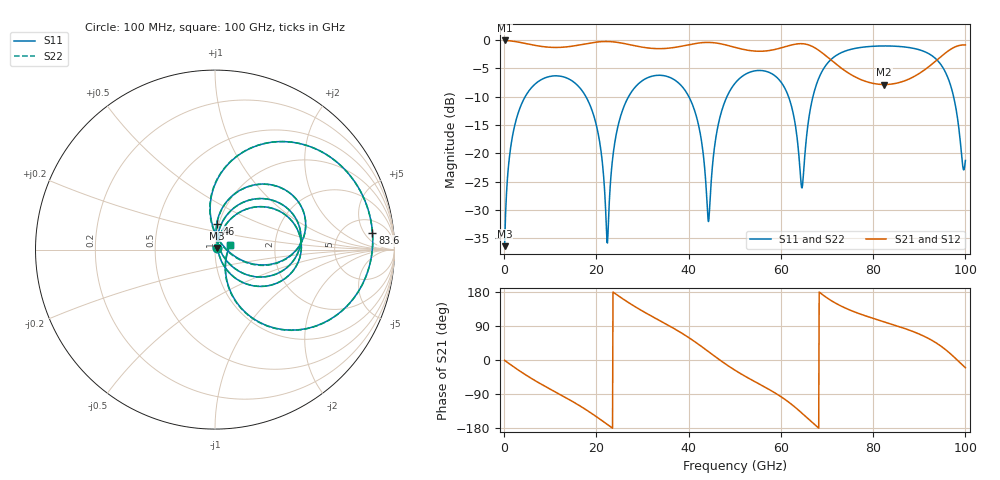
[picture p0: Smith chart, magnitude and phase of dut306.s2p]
! Touchstone file exported from HFSS 2026.1.0
!  File:  C:/ffzhzh/LocalFiles/Ansys_Project_Files/temp_train_TSV_RDL_306_1783697755_45496.aedt
!  Generated:  11:45:09 PM Jul 10, 2026
!  Design:  TSV_RDL
!  Project:  temp_train_TSV_RDL_306_1783697755_45496
! Variables:
!  h_bsmrdl = 4.72um
!  h_ox = 20um
!  h_rdl = 5um
!  h_sub = 87.99um
!  h_tmrdl = 2.42um
!  h_tsv = 87.99um
!  h_via = 3um
!  l_bsmrdl = 195.83um
!  l_sub = 2378.04um
!  l_tmrdl = 312.26um
!  m_sub = 200um
!  pitch = 50.75um
!  r_tsv = 8.35um
!  s_tmrdl = 10um
!  w_bsmrdl = 26.61um
!  w_sub = 500um
!  w_tmrdl = 20.56um
!  x_tsv_center1 = 322.54um
!  x_tsv_center2 = 544.98um
!  x_tsv_center3 = 877.8um
!  x_tsv_center4 = 1100.24um
!  x_tsv_center5 = 1433.06um
!  x_tsv_center6 = 1655.5um
# GHz S MA R 50.000000
! Terminal data exported
! Port[1] = TM_RDL1_1_T1
! Port[2] = TM_RDL5_1_T1
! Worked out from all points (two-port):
!   1000 points, 100 MHz to 100 GHz, reference 50 ohm
!   highest |S21| = -0.11 dB at 100 MHz (marker M1); lowest = -7.9 dB at 82.4 GHz (marker M2)
!   |S21| within 3 dB of the highest: start of sweep to 70.2 GHz; 94.48 GHz to end of sweep
!   lowest |S11| = -36.4 dB at 100 MHz (marker M3), VSWR 1.03, Z = 51.3 + j0.867 ohm
!   |S11| at or under -10 dB: 17.71 GHz to 26.99 GHz (9.272 GHz wide, 41.5 % of centre); 40.03 GHz to 48.31 GHz (8.278 GHz wide, 18.7 % of centre); 61.64 GHz to 66.95 GHz (5.31 GHz wide, 8.26 % of centre) (the widest 3 of 5)
!   |S22| runs from -36.4 to -1.1 dB; largest |S21 - S12| = 1.7e-14
!   S11 on the Smith chart (normalised r, x): 100 MHz: 1.03, +0.02; 46 GHz: 0.98, +0.29; 83.6 GHz: 9, +8; 100 GHz: 1.18, +0.06
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0.1  0.01518 33.9  0.9875 -0.9  0.9875 -0.9  0.01518 33.9
! Gamma 0 0 0 0
! Port Impedance 50 0 50 0
1.6  0.1265 68.4  0.9755 -14.1  0.9755 -14.1  0.1265 68.4
4.6  0.3174 47.9  0.9293 -38.7  0.9293 -38.7  0.3174 47.9
10.9  0.4814 5.4  0.8569 -83.0  0.8569 -83.0  0.4814 5.5
16.8  0.3606 -33.8  0.9088 -123.9  0.9088 -123.9  0.3606 -33.8
20.3  0.1551 -58.1  0.958 -152.1  0.958 -152.1  0.1551 -58.0
22.4  0.01617 19.7  0.9663 -170.3  0.9663 -170.3  0.0165 19.5
25.7  0.2415 67.1  0.933 161.6  0.933 161.6  0.2415 67.0
33.4  0.487 15.3  0.8362 106.2  0.8362 106.2  0.487 15.2
40.9  0.264 -34.6  0.9197 52.0  0.9197 52.0  0.2641 -34.6
44.3  0.02501 20.9  0.9492 22.1  0.9492 22.1  0.02577 20.6
46  0.1457 86.1  0.9371 6.7  0.9371 6.7  0.1458 85.7
50.1  0.4164 59.5  0.857 -27.4  0.857 -27.4  0.4164 59.3
60.2  0.4147 -5.3  0.8526 -98.3  0.8526 -98.3  0.4146 -5.7
64.5  0.04977 29.6  0.925 -139.7  0.925 -139.7  0.04729 28.9
66.7  0.2849 94.6  0.8789 -164.1  0.8789 -164.1  0.2844 95.0
72  0.7287 55.4  0.609 149.0  0.609 149.0  0.7285 55.5
82.4  0.8834 10.3  0.4037 100.7  0.4037 100.7  0.8833 10.3
83.4  0.8827 6.8  0.4052 96.9  0.4052 96.9  0.8826 6.7
83.6  0.8824 6.1  0.4058 96.1  0.4058 96.1  0.8823 6.0
95  0.5796 -50.1  0.728 33.9  0.728 33.9  0.5796 -50.3
100  0.08636 15.8  0.9019 -20.4  0.9019 -20.4  0.08522 16.1
